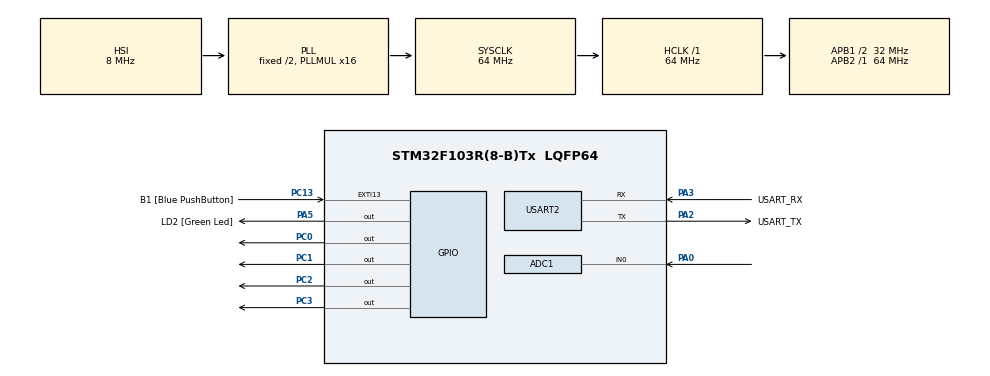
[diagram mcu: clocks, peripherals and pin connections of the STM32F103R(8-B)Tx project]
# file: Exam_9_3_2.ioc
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ADC1.Channel-1\#ChannelRegularConversion=ADC_CHANNEL_0
ADC1.ContinuousConvMode=ENABLE
ADC1.NbrOfConversionFlag=1
ADC1.Rank-1\#ChannelRegularConversion=1
ADC1.SamplingTime-1\#ChannelRegularConversion=ADC_SAMPLETIME_13CYCLES_5
ADC1.master=1
Mcu.Family=STM32F1
Mcu.Name=STM32F103R(8-B)Tx
Mcu.Package=LQFP64
NVIC.ADC1_2_IRQn=true\:0\:0\:false\:false\:true\:true\:true\:true
NVIC.EXTI15_10_IRQn=true\:0\:0\:false\:false\:true\:true\:true\:true
NVIC.PriorityGroup=NVIC_PRIORITYGROUP_4
PA0-WKUP.Signal=ADCx_IN0
PA13.GPIO_Label=TMS
PA13.Mode=Serial_Wire
PA13.Signal=SYS_JTMS-SWDIO
PA14.GPIO_Label=TCK
PA14.Mode=Serial_Wire
PA14.Signal=SYS_JTCK-SWCLK
PA2.GPIO_Label=USART_TX
PA2.GPIO_Mode=GPIO_MODE_AF_PP
PA2.GPIO_PuPd=GPIO_NOPULL
PA2.GPIO_Speed=GPIO_SPEED_FREQ_LOW
PA2.Mode=Asynchronous
PA2.Signal=USART2_TX
PA3.GPIO_Label=USART_RX
PA3.GPIO_Mode=GPIO_MODE_AF_PP
PA3.GPIO_PuPd=GPIO_NOPULL
PA3.GPIO_Speed=GPIO_SPEED_FREQ_LOW
PA3.Mode=Asynchronous
PA3.Signal=USART2_RX
PA5.GPIO_Label=LD2 [Green Led]
PA5.GPIO_ModeDefaultOutputPP=GPIO_MODE_OUTPUT_PP
PA5.GPIO_PuPd=GPIO_NOPULL
PA5.GPIO_Speed=GPIO_SPEED_FREQ_LOW
PA5.Signal=GPIO_Output
PB3.GPIO_Label=SWO
PB3.Signal=SYS_JTDO-TRACESWO
PC0.Signal=GPIO_Output
PC1.Signal=GPIO_Output
PC13-TAMPER-RTC.GPIO_Label=B1 [Blue PushButton]
PC13-TAMPER-RTC.GPIO_PuPd=GPIO_NOPULL
PC13-TAMPER-RTC.Signal=GPXTI13
PC14-OSC32_IN.Mode=LSE-External-Oscillator
PC14-OSC32_IN.Signal=RCC_OSC32_IN
PC15-OSC32_OUT.Mode=LSE-External-Oscillator
PC15-OSC32_OUT.Signal=RCC_OSC32_OUT
PC2.Signal=GPIO_Output
PC3.Signal=GPIO_Output
PD0-OSC_IN.Mode=HSE-External-Clock-Source
PD0-OSC_IN.Signal=RCC_OSC_IN
PD1-OSC_OUT.Mode=HSE-External-Clock-Source
PD1-OSC_OUT.Signal=RCC_OSC_OUT
ProjectManager.HeapSize=0x200
ProjectManager.StackSize=0x400
ProjectManager.TargetToolchain=STM32CubeIDE
RCC.ADCPresc=RCC_ADCPCLK2_DIV8
RCC.AHBFreq_Value=64000000
RCC.APB1CLKDivider=RCC_HCLK_DIV2
RCC.APB1Freq_Value=32000000
RCC.APB1TimFreq_Value=64000000
RCC.APB2Freq_Value=64000000
RCC.APB2TimFreq_Value=64000000
RCC.HCLKFreq_Value=64000000
RCC.PLLMUL=RCC_PLL_MUL16
RCC.RTCClockSelection=RCC_RTCCLKSOURCE_LSE
RCC.SYSCLKFreq_VALUE=64000000
RCC.SYSCLKSource=RCC_SYSCLKSOURCE_PLLCLK
RCC.USBFreq_Value=64000000
SH.ADCx_IN0.0=ADC1_IN0,IN0
USART2.VirtualMode=VM_ASYNC
board=NUCLEO-F103RB

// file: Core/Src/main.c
/* USER CODE BEGIN Header */
/**
  ******************************************************************************
  * @file           : main.c
  * @brief          : Main program body
  ******************************************************************************
  * @attention
  *
  * Copyright (c) 2022 STMicroelectronics.
  * All rights reserved.
  *
  * This software is licensed under terms that can be found in the LICENSE file
  * in the root directory of this software component.
  * If no LICENSE file comes with this software, it is provided AS-IS.
  *
  ******************************************************************************
  */
/* USER CODE END Header */
#include "main.h"

/* USER CODE BEGIN Includes */
#include "stdio.h"
/* USER CODE END Includes */

 ADC_HandleTypeDef hadc1;

UART_HandleTypeDef huart2;

/* USER CODE BEGIN PV */
int adc_value;
/* USER CODE END PV */

void SystemClock_Config(void);
static void MX_GPIO_Init(void);
static void MX_USART2_UART_Init(void);
static void MX_ADC1_Init(void);
/* USER CODE BEGIN PFP */
#ifdef __GNUC__
/* With GCC, small printf (option LD Linker->Libraries->Small printf
   set to 'Yes') calls __io_putchar() */
#define PUTCHAR_PROTOTYPE int __io_putchar(int ch)
#else
#define PUTCHAR_PROTOTYPE int fputc(int ch, FILE *f)
#endif /* __GNUC__ */

PUTCHAR_PROTOTYPE
{
  /* Place your implementation of fputc here */
  /* e.g. write a character to the USART1 and Loop until the end of transmission */
  HAL_UART_Transmit(&huart2, (uint8_t *)&ch, 1, 0xFFFF);

  return ch;
}
/* USER CODE END PFP */

/* USER CODE BEGIN 0 */
void HAL_ADC_ConvCpltCallback(ADC_HandleTypeDef* hadc) {
	adc_value = (uint16_t)HAL_ADC_GetValue(&hadc1);
}
/* USER CODE END 0 */

int main(void)
{

  /* MCU Configuration--------------------------------------------------------*/

  /* Reset of all peripherals, Initializes the Flash interface and the Systick. */
  HAL_Init();

  /* Configure the system clock */
  SystemClock_Config();

  /* Initialize all configured peripherals */
  MX_GPIO_Init();
  MX_USART2_UART_Init();
  MX_ADC1_Init();
  /* USER CODE BEGIN 2 */
  HAL_ADC_Start_IT(&hadc1);
  /* USER CODE END 2 */

  /* Infinite loop */
  /* USER CODE BEGIN WHILE */
  while (1)
  {
	  HAL_Delay(1000);
	  printf("adc value : %d\n\r", adc_value);
    /* USER CODE END WHILE */

  }
}

void SystemClock_Config(void)
{
  RCC_OscInitTypeDef RCC_OscInitStruct = {0};
  RCC_ClkInitTypeDef RCC_ClkInitStruct = {0};
  RCC_PeriphCLKInitTypeDef PeriphClkInit = {0};

  /** Initializes the RCC Oscillators according to the specified parameters
  * in the RCC_OscInitTypeDef structure.
  */
  RCC_OscInitStruct.OscillatorType = RCC_OSCILLATORTYPE_HSI;
  RCC_OscInitStruct.HSIState = RCC_HSI_ON;
  RCC_OscInitStruct.HSICalibrationValue = RCC_HSICALIBRATION_DEFAULT;
  RCC_OscInitStruct.PLL.PLLState = RCC_PLL_ON;
  RCC_OscInitStruct.PLL.PLLSource = RCC_PLLSOURCE_HSI_DIV2;
  RCC_OscInitStruct.PLL.PLLMUL = RCC_PLL_MUL16;
  if (HAL_RCC_OscConfig(&RCC_OscInitStruct) != HAL_OK)
  {
    Error_Handler();
  }

  /** Initializes the CPU, AHB and APB buses clocks
  */
  RCC_ClkInitStruct.ClockType = RCC_CLOCKTYPE_HCLK|RCC_CLOCKTYPE_SYSCLK
                              |RCC_CLOCKTYPE_PCLK1|RCC_CLOCKTYPE_PCLK2;
  RCC_ClkInitStruct.SYSCLKSource = RCC_SYSCLKSOURCE_PLLCLK;
  RCC_ClkInitStruct.AHBCLKDivider = RCC_SYSCLK_DIV1;
  RCC_ClkInitStruct.APB1CLKDivider = RCC_HCLK_DIV2;
  RCC_ClkInitStruct.APB2CLKDivider = RCC_HCLK_DIV1;

  if (HAL_RCC_ClockConfig(&RCC_ClkInitStruct, FLASH_LATENCY_2) != HAL_OK)
  {
    Error_Handler();
  }
  PeriphClkInit.PeriphClockSelection = RCC_PERIPHCLK_ADC;
  PeriphClkInit.AdcClockSelection = RCC_ADCPCLK2_DIV8;
  if (HAL_RCCEx_PeriphCLKConfig(&PeriphClkInit) != HAL_OK)
  {
    Error_Handler();
  }
}

static void MX_ADC1_Init(void)
{

  ADC_ChannelConfTypeDef sConfig = {0};

  /** Common config
  */
  hadc1.Instance = ADC1;
  hadc1.Init.ScanConvMode = ADC_SCAN_DISABLE;
  hadc1.Init.ContinuousConvMode = ENABLE;
  hadc1.Init.DiscontinuousConvMode = DISABLE;
  hadc1.Init.ExternalTrigConv = ADC_SOFTWARE_START;
  hadc1.Init.DataAlign = ADC_DATAALIGN_RIGHT;
  hadc1.Init.NbrOfConversion = 1;
  if (HAL_ADC_Init(&hadc1) != HAL_OK)
  {
    Error_Handler();
  }

  /** Configure Regular Channel
  */
  sConfig.Channel = ADC_CHANNEL_0;
  sConfig.Rank = ADC_REGULAR_RANK_1;
  sConfig.SamplingTime = ADC_SAMPLETIME_13CYCLES_5;
  if (HAL_ADC_ConfigChannel(&hadc1, &sConfig) != HAL_OK)
  {
    Error_Handler();
  }

}

static void MX_USART2_UART_Init(void)
{

  huart2.Instance = USART2;
  huart2.Init.BaudRate = 115200;
  huart2.Init.WordLength = UART_WORDLENGTH_8B;
  huart2.Init.StopBits = UART_STOPBITS_1;
  huart2.Init.Parity = UART_PARITY_NONE;
  huart2.Init.Mode = UART_MODE_TX_RX;
  huart2.Init.HwFlowCtl = UART_HWCONTROL_NONE;
  huart2.Init.OverSampling = UART_OVERSAMPLING_16;
  if (HAL_UART_Init(&huart2) != HAL_OK)
  {
    Error_Handler();
  }

}

static void MX_GPIO_Init(void)
{
  GPIO_InitTypeDef GPIO_InitStruct = {0};

  /* GPIO Ports Clock Enable */
  __HAL_RCC_GPIOC_CLK_ENABLE();
  __HAL_RCC_GPIOD_CLK_ENABLE();
  __HAL_RCC_GPIOA_CLK_ENABLE();
  __HAL_RCC_GPIOB_CLK_ENABLE();

  /*Configure GPIO pin Output Level */
  HAL_GPIO_WritePin(GPIOC, GPIO_PIN_0|GPIO_PIN_1|GPIO_PIN_2|GPIO_PIN_3, GPIO_PIN_RESET);

  /*Configure GPIO pin Output Level */
  HAL_GPIO_WritePin(LD2_GPIO_Port, LD2_Pin, GPIO_PIN_RESET);

  /*Configure GPIO pin : B1_Pin */
  GPIO_InitStruct.Pin = B1_Pin;
  GPIO_InitStruct.Mode = GPIO_MODE_IT_RISING;
  GPIO_InitStruct.Pull = GPIO_NOPULL;
  HAL_GPIO_Init(B1_GPIO_Port, &GPIO_InitStruct);

  /*Configure GPIO pins : PC0 PC1 PC2 PC3 */
  GPIO_InitStruct.Pin = GPIO_PIN_0|GPIO_PIN_1|GPIO_PIN_2|GPIO_PIN_3;
  GPIO_InitStruct.Mode = GPIO_MODE_OUTPUT_PP;
  GPIO_InitStruct.Pull = GPIO_NOPULL;
  GPIO_InitStruct.Speed = GPIO_SPEED_FREQ_LOW;
  HAL_GPIO_Init(GPIOC, &GPIO_InitStruct);

  /*Configure GPIO pin : LD2_Pin */
  GPIO_InitStruct.Pin = LD2_Pin;
  GPIO_InitStruct.Mode = GPIO_MODE_OUTPUT_PP;
  GPIO_InitStruct.Pull = GPIO_NOPULL;
  GPIO_InitStruct.Speed = GPIO_SPEED_FREQ_LOW;
  HAL_GPIO_Init(LD2_GPIO_Port, &GPIO_InitStruct);

  /* EXTI interrupt init*/
  HAL_NVIC_SetPriority(EXTI15_10_IRQn, 0, 0);
  HAL_NVIC_EnableIRQ(EXTI15_10_IRQn);

}

void Error_Handler(void)
{
  __disable_irq();
  while (1)
  {
  }
}
